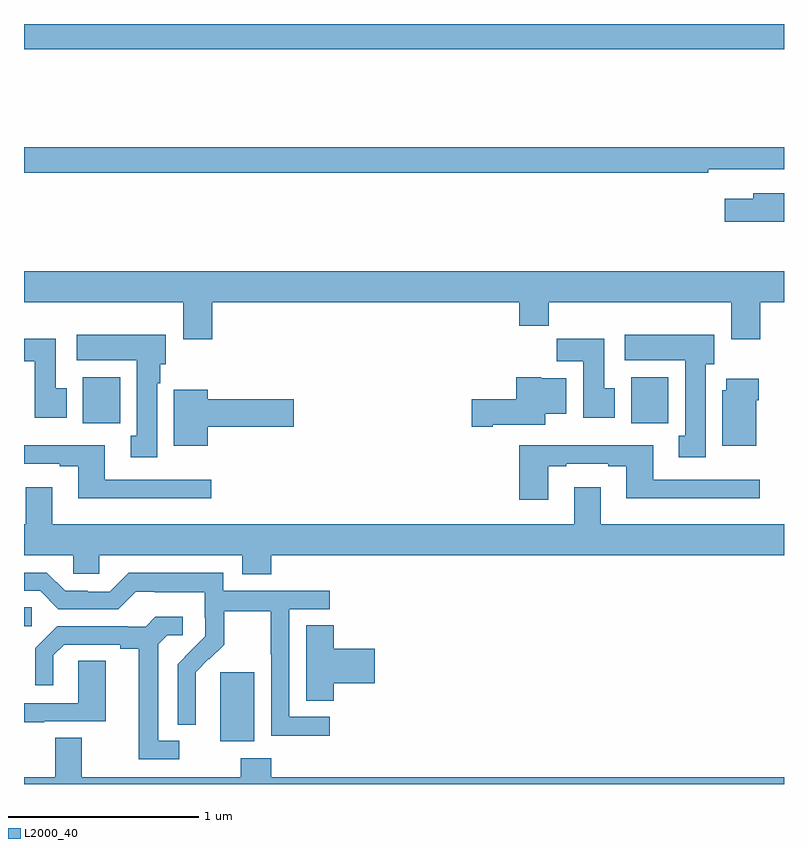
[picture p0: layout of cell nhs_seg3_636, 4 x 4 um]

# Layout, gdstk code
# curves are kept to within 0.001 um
import gdstk
lib = gdstk.Library(unit=1e-6, precision=1e-09)
def R(c, l, rs):  # rectangles x0, y0, x1, y1
    for r in rs: c.add(gdstk.rectangle(r[:2], r[2:], *l))
def P(c, l, *ps):  # polygons
    for p in ps: c.add(gdstk.Polygon(p, *l))
L2000_40 = (2000, 40)

nhs_seg3_636 = lib.new_cell('nhs_seg3_636')
R(nhs_seg3_636, L2000_40, [(144.032,678.626,144.211,678.987), (143,679.23,143.041,679.331), (143.309,680.3,143.506,680.542), (146.195,680.3,146.392,680.542), (143,682.268,147,682.4)])
P(nhs_seg3_636, L2000_40, [(146.6,681.636),(147,681.636),(147,681.752),(143,681.752),(143,681.616),(146.6,681.616)],
  [(147,681.51),(146.837,681.51),(146.837,681.481),(146.688,681.481),(146.688,681.359),(147,681.359)],
  [(143.99,680.936),(145.607,680.936),(145.607,680.812),(145.763,680.812),(145.763,680.936),(146.723,680.936),(146.723,680.742),(146.876,680.742),(146.876,680.936),(147,680.936),(147,681.1),(143,681.1),(143,680.936),(143.837,680.936),(143.837,680.742),(143.99,680.742)],
  [(146.587,680.61),(146.632,680.61),(146.632,680.764),(146.163,680.764),(146.163,680.63),(146.48,680.63),(146.48,680.234),(146.447,680.234),(146.447,680.121),(146.587,680.121)],
  [(143.701,680.51),(143.716,680.51),(143.716,680.61),(143.746,680.61),(143.746,680.764),(143.277,680.764),(143.277,680.63),(143.594,680.63),(143.594,680.234),(143.561,680.234),(143.561,680.121),(143.701,680.121)],
  [(146.11,680.484),(146.053,680.484),(146.053,680.743),(145.804,680.743),(145.804,680.624),(145.943,680.624),(145.943,680.328),(146.11,680.328)],
  [(143.224,680.484),(143.167,680.484),(143.167,680.743),(143,680.743),(143,680.624),(143.057,680.624),(143.057,680.328),(143.224,680.328)],
  [(145.468,680.291),(145.744,680.291),(145.744,680.348),(145.855,680.348),(145.855,680.536),(145.722,680.536),(145.722,680.542),(145.592,680.542),(145.592,680.426),(145.356,680.426),(145.356,680.279),(145.468,680.279)],
  [(146.854,680.42),(146.867,680.42),(146.867,680.533),(146.696,680.533),(146.696,680.472),(146.675,680.472),(146.675,680.18),(146.854,680.18)],
  [(143.968,680.279),(144.421,680.279),(144.421,680.426),(143.968,680.426),(143.968,680.476),(143.789,680.476),(143.789,680.18),(143.968,680.18)],
  [(143.986,680.001),(143.425,680.001),(143.425,680.182),(143,680.182),(143,680.085),(143.189,680.085),(143.189,680.073),(143.285,680.073),(143.285,679.904),(143.986,679.904)],
  [(145.759,680.073),(145.855,680.073),(145.855,680.085),(146.075,680.085),(146.075,680.073),(146.171,680.073),(146.171,679.904),(146.872,679.904),(146.872,680.001),(146.311,680.001),(146.311,680.182),(145.607,680.182),(145.607,679.896),(145.759,679.896)],
  [(144.302,679.604),(147,679.604),(147,679.768),(146.035,679.768),(146.035,679.963),(145.895,679.963),(145.895,679.768),(143.149,679.768),(143.149,679.963),(143.009,679.963),(143.009,679.768),(143,679.768),(143,679.604),(143.259,679.604),(143.259,679.506),(143.397,679.506),(143.397,679.604),(144.149,679.604),(144.149,679.505),(144.302,679.505)],
  [(144.61,678.753),(144.396,678.753),(144.396,679.32),(144.61,679.32),(144.61,679.416),(144.048,679.416),(144.048,679.513),(143.551,679.513),(143.451,679.413),(143.336,679.413),(143.336,679.416),(143.217,679.416),(143.121,679.512),(143,679.512),(143,679.416),(143.085,679.416),(143.181,679.32),(143.496,679.32),(143.589,679.413),(143.689,679.413),(143.689,679.409),(143.952,679.409),(143.952,679.275),(143.954,679.275),(143.954,679.178),(143.808,679.03),(143.808,678.712),(143.904,678.712),(143.903,678.989),(143.973,679.059),(143.976,679.056),(144.053,679.133),(144.053,679.308),(144.298,679.308),(144.298,679.084),(144.3,679.084),(144.3,678.655),(144.61,678.655)],
  [(143.818,678.627),(143.707,678.627),(143.707,679.135),(143.754,679.182),(143.836,679.182),(143.836,679.279),(143.692,679.279),(143.64,679.227),(143.546,679.227),(143.546,679.23),(143.174,679.23),(143.058,679.114),(143.058,678.921),(143.155,678.921),(143.155,679.077),(143.212,679.134),(143.507,679.134),(143.507,679.112),(143.603,679.112),(143.603,678.531),(143.818,678.531)],
  [(144.629,678.929),(144.847,678.929),(144.847,679.112),(144.629,679.112),(144.629,679.235),(144.485,679.235),(144.485,678.838),(144.629,678.838)],
  [(143.107,678.729),(143.431,678.729),(143.431,679.049),(143.286,679.049),(143.286,678.825),(143,678.825),(143,678.725),(143.107,678.725)],
  [(147,678.436),(144.302,678.436),(144.302,678.535),(144.142,678.535),(144.142,678.436),(143.305,678.436),(143.305,678.644),(143.165,678.644),(143.165,678.436),(143,678.436),(143,678.4),(147,678.4)])

lib.write_gds('nhs_seg3_636.gds')
